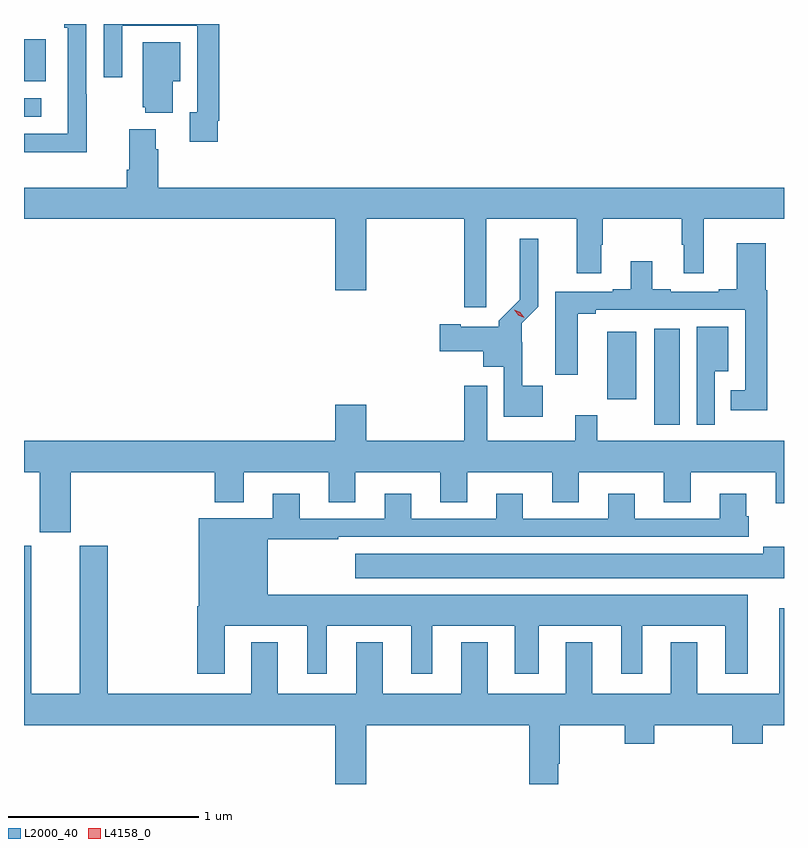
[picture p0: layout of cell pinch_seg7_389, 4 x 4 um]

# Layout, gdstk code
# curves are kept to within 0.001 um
import gdstk
lib = gdstk.Library(unit=1e-6, precision=1e-09)
def R(c, l, rs):  # rectangles x0, y0, x1, y1
    for r in rs: c.add(gdstk.rectangle(r[:2], r[2:], *l))
def P(c, l, *ps):  # polygons
    for p in ps: c.add(gdstk.Polygon(p, *l))
L2000_40 = (2000, 40)
L4158_0 = (4158, 0)

pinch_seg7_389 = lib.new_cell('pinch_seg7_389')
R(pinch_seg7_389, L2000_40, [(562.292,1032.833,562.426,1033.339), (562.046,1032.966,562.198,1033.321), (558.975,1034.454,559.066,1034.55), (558.975,1034.642,559.09,1034.861)])
P(pinch_seg7_389, L2000_40, [(559.996,1034.434),(560.003,1034.434),(560.003,1034.942),(559.395,1034.942),(559.395,1034.661),(559.491,1034.661),(559.491,1034.934),(559.887,1034.934),(559.887,1034.478),(559.847,1034.478),(559.847,1034.322),(559.996,1034.322)],
  [(559.305,1034.573),(559.302,1034.573),(559.302,1034.942),(559.187,1034.942),(559.187,1034.922),(559.206,1034.922),(559.206,1034.364),(558.975,1034.364),(558.975,1034.267),(559.305,1034.267)],
  [(559.759,1034.642),(559.798,1034.642),(559.798,1034.845),(559.601,1034.845),(559.601,1034.505),(559.613,1034.505),(559.613,1034.474),(559.759,1034.474)],
  [(561.409,1033.916),(561.884,1033.916),(561.884,1033.629),(562.012,1033.629),(562.012,1033.78),(562.02,1033.78),(562.02,1033.916),(562.438,1033.916),(562.438,1033.78),(562.448,1033.78),(562.448,1033.629),(562.552,1033.629),(562.552,1033.916),(562.975,1033.916),(562.975,1034.08),(559.682,1034.08),(559.682,1034.282),(559.669,1034.282),(559.669,1034.389),(559.529,1034.389),(559.529,1034.176),(559.517,1034.176),(559.517,1034.08),(558.975,1034.08),(558.975,1033.916),(560.612,1033.916),(560.612,1033.542),(560.776,1033.542),(560.776,1033.916),(561.291,1033.916),(561.291,1033.452),(561.409,1033.452)],
  [(561.706,1033.039),(561.598,1033.039),(561.598,1033.268),(561.594,1033.268),(561.594,1033.368),(561.681,1033.455),(561.681,1033.813),(561.584,1033.813),(561.585,1033.491),(561.474,1033.38),(561.474,1033.348),(561.274,1033.348),(561.274,1033.361),(561.162,1033.361),(561.162,1033.219),(561.392,1033.219),(561.392,1033.139),(561.501,1033.139),(561.501,1032.875),(561.706,1032.875)],
  [(562.886,1033.54),(562.88,1033.54),(562.88,1033.789),(562.727,1033.789),(562.727,1033.546),(562.631,1033.546),(562.631,1033.533),(562.378,1033.533),(562.378,1033.546),(562.282,1033.546),(562.282,1033.693),(562.169,1033.693),(562.169,1033.546),(562.073,1033.546),(562.073,1033.533),(561.77,1033.533),(561.77,1033.095),(561.889,1033.095),(561.889,1033.417),(561.985,1033.417),(561.985,1033.437),(562.77,1033.437),(562.77,1033.014),(562.696,1033.014),(562.696,1032.909),(562.886,1032.909)],
  [(562.611,1033.115),(562.681,1033.115),(562.681,1033.348),(562.515,1033.348),(562.515,1032.833),(562.611,1032.833)],
  [(559.222,1032.584),(559.979,1032.584),(559.979,1032.425),(560.131,1032.425),(560.131,1032.584),(560.579,1032.584),(560.579,1032.424),(560.719,1032.424),(560.719,1032.584),(561.167,1032.584),(561.167,1032.424),(561.307,1032.424),(561.307,1032.584),(561.755,1032.584),(561.755,1032.424),(561.895,1032.424),(561.895,1032.584),(562.343,1032.584),(562.343,1032.424),(562.483,1032.424),(562.483,1032.584),(562.931,1032.584),(562.931,1032.42),(562.975,1032.42),(562.975,1032.748),(561.993,1032.748),(561.993,1032.882),(561.875,1032.882),(561.875,1032.748),(561.412,1032.748),(561.412,1033.039),(561.291,1033.039),(561.291,1032.748),(560.776,1032.748),(560.776,1032.937),(560.612,1032.937),(560.612,1032.748),(558.975,1032.748),(558.975,1032.584),(559.058,1032.584),(559.058,1032.267),(559.222,1032.267)],
  [(560.032,1031.774),(560.465,1031.774),(560.465,1031.523),(560.569,1031.523),(560.569,1031.774),(561.014,1031.774),(561.014,1031.523),(561.124,1031.523),(561.124,1031.774),(561.557,1031.774),(561.557,1031.523),(561.685,1031.523),(561.685,1031.774),(562.118,1031.774),(562.118,1031.523),(562.228,1031.523),(562.228,1031.774),(562.667,1031.774),(562.667,1031.523),(562.783,1031.523),(562.783,1031.938),(560.257,1031.938),(560.257,1032.231),(560.63,1032.231),(560.63,1032.243),(562.79,1032.243),(562.79,1032.351),(562.777,1032.351),(562.777,1032.469),(562.637,1032.469),(562.637,1032.339),(562.189,1032.339),(562.189,1032.469),(562.049,1032.469),(562.049,1032.339),(561.601,1032.339),(561.601,1032.469),(561.461,1032.469),(561.461,1032.339),(561.013,1032.339),(561.013,1032.469),(560.873,1032.469),(560.873,1032.339),(560.425,1032.339),(560.425,1032.469),(560.285,1032.469),(560.285,1032.34),(559.895,1032.34),(559.895,1031.878),(559.888,1031.878),(559.888,1031.523),(560.032,1031.523)],
  [(560.776,1031.252),(561.635,1031.252),(561.635,1030.942),(561.787,1030.942),(561.787,1031.048),(561.795,1031.048),(561.795,1031.252),(562.138,1031.252),(562.138,1031.153),(562.293,1031.153),(562.293,1031.252),(562.702,1031.252),(562.702,1031.153),(562.862,1031.153),(562.862,1031.252),(562.975,1031.252),(562.975,1031.866),(562.949,1031.866),(562.949,1031.416),(562.519,1031.416),(562.519,1031.689),(562.379,1031.689),(562.379,1031.416),(561.967,1031.416),(561.967,1031.689),(561.827,1031.689),(561.827,1031.416),(561.415,1031.416),(561.415,1031.689),(561.275,1031.689),(561.275,1031.416),(560.863,1031.416),(560.863,1031.689),(560.723,1031.689),(560.723,1031.416),(560.311,1031.416),(560.311,1031.689),(560.171,1031.689),(560.171,1031.416),(559.416,1031.416),(559.416,1032.195),(559.268,1032.195),(559.268,1031.416),(559.012,1031.416),(559.012,1032.195),(558.975,1032.195),(558.975,1031.252),(560.612,1031.252),(560.612,1030.942),(560.776,1030.942)],
  [(562.975,1032.19),(562.865,1032.19),(562.865,1032.154),(560.718,1032.154),(560.718,1032.026),(562.975,1032.026)])
P(pinch_seg7_389, L4158_0, [(561.608,1033.396),(561.575,1033.41),(561.554,1033.438),(561.554,1033.438),(561.555,1033.438),(561.587,1033.425),(561.608,1033.397),(561.608,1033.396)])

lib.write_gds('pinch_seg7_389.gds')
